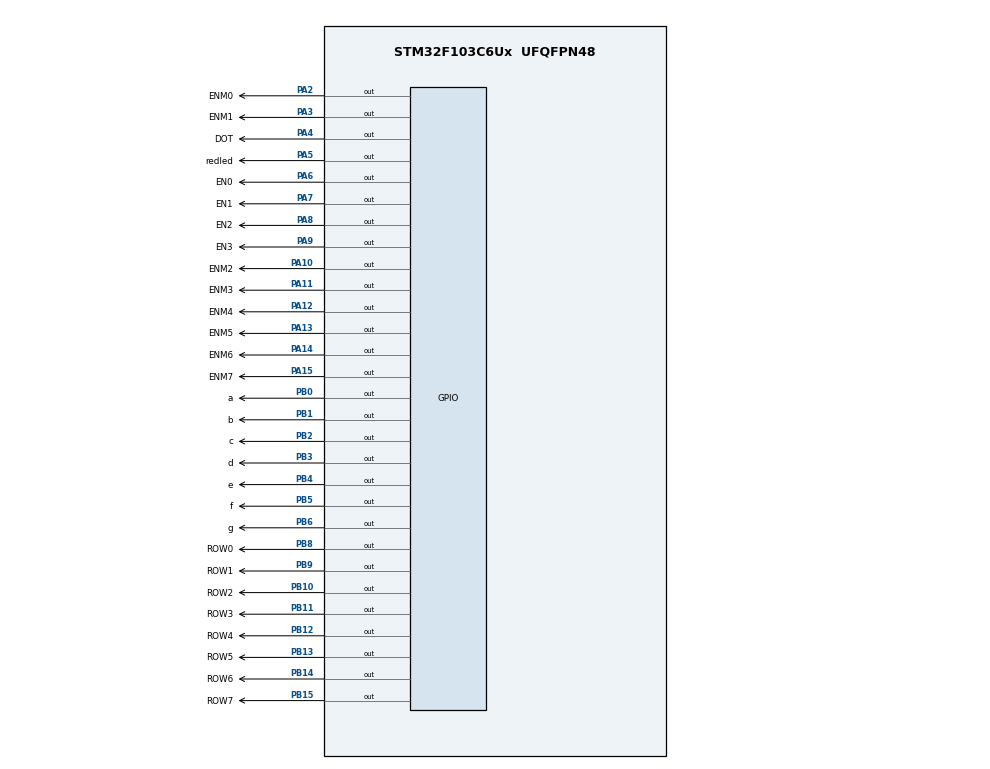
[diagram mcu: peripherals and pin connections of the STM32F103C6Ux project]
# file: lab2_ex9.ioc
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Mcu.Family=STM32F1
Mcu.Name=STM32F103C6Ux
Mcu.Package=UFQFPN48
NVIC.PriorityGroup=NVIC_PRIORITYGROUP_4
NVIC.TIM2_IRQn=true\:0\:0\:false\:false\:true\:true\:true
PA10.GPIO_Label=ENM2
PA10.Signal=GPIO_Output
PA11.GPIO_Label=ENM3
PA11.Signal=GPIO_Output
PA12.GPIO_Label=ENM4
PA12.Signal=GPIO_Output
PA13.GPIO_Label=ENM5
PA13.Signal=GPIO_Output
PA14.GPIO_Label=ENM6
PA14.Signal=GPIO_Output
PA15.GPIO_Label=ENM7
PA15.Signal=GPIO_Output
PA2.GPIO_Label=ENM0
PA2.Signal=GPIO_Output
PA3.GPIO_Label=ENM1
PA3.Signal=GPIO_Output
PA4.GPIO_Label=DOT
PA4.Signal=GPIO_Output
PA5.GPIO_Label=redled
PA5.Signal=GPIO_Output
PA6.GPIO_Label=EN0
PA6.Signal=GPIO_Output
PA7.GPIO_Label=EN1
PA7.Signal=GPIO_Output
PA8.GPIO_Label=EN2
PA8.Signal=GPIO_Output
PA9.GPIO_Label=EN3
PA9.Signal=GPIO_Output
PB0.GPIO_Label=a
PB0.Signal=GPIO_Output
PB1.GPIO_Label=b
PB1.Signal=GPIO_Output
PB10.GPIO_Label=ROW2
PB10.Signal=GPIO_Output
PB11.GPIO_Label=ROW3
PB11.Signal=GPIO_Output
PB12.GPIO_Label=ROW4
PB12.Signal=GPIO_Output
PB13.GPIO_Label=ROW5
PB13.Signal=GPIO_Output
PB14.GPIO_Label=ROW6
PB14.Signal=GPIO_Output
PB15.GPIO_Label=ROW7
PB15.Signal=GPIO_Output
PB2.GPIO_Label=c
PB2.Signal=GPIO_Output
PB3.GPIO_Label=d
PB3.Signal=GPIO_Output
PB4.GPIO_Label=e
PB4.Signal=GPIO_Output
PB5.GPIO_Label=f
PB5.Signal=GPIO_Output
PB6.GPIO_Label=g
PB6.Signal=GPIO_Output
PB8.GPIO_Label=ROW0
PB8.Signal=GPIO_Output
PB9.GPIO_Label=ROW1
PB9.Signal=GPIO_Output
ProjectManager.HeapSize=0x200
ProjectManager.StackSize=0x400
ProjectManager.TargetToolchain=STM32CubeIDE
RCC.APB1Freq_Value=8000000
RCC.APB2Freq_Value=8000000
TIM2.Period=9
TIM2.Prescaler=7999
VP_SYS_VS_ND.Mode=No_Debug
VP_TIM2_VS_ClockSourceINT.Mode=Internal
board=custom

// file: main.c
/* USER CODE BEGIN Header */
/**
  ******************************************************************************
  * @file           : main.c
  * @brief          : Main program body
  ******************************************************************************
  * @attention
  *
  * <h2><center>&copy; Copyright (c) 2025 STMicroelectronics.
  * All rights reserved.</center></h2>
  *
  * This software component is licensed by ST under BSD 3-Clause license,
  * the "License"; You may not use this file except in compliance with the
  * License. You may obtain a copy of the License at:
  *                        opensource.org/licenses/BSD-3-Clause
  *
  ******************************************************************************
  */
/* USER CODE END Header */
#include "main.h"

/* USER CODE BEGIN Includes */
#include "software_timer.h"
/* USER CODE END Includes */

TIM_HandleTypeDef htim2;

void SystemClock_Config(void);
static void MX_GPIO_Init(void);
static void MX_TIM2_Init(void);

/* USER CODE BEGIN 0 */
void display7SEG(int num) {
 	       switch (num) {
 	       case 0:
 	           HAL_GPIO_WritePin(a_GPIO_Port, a_Pin, GPIO_PIN_RESET);
 	           HAL_GPIO_WritePin(b_GPIO_Port, b_Pin, GPIO_PIN_RESET);
 	           HAL_GPIO_WritePin(c_GPIO_Port, c_Pin, GPIO_PIN_RESET);
 	           HAL_GPIO_WritePin(d_GPIO_Port, d_Pin, GPIO_PIN_RESET);
 	           HAL_GPIO_WritePin(e_GPIO_Port, e_Pin, GPIO_PIN_RESET);
 	           HAL_GPIO_WritePin(f_GPIO_Port, f_Pin, GPIO_PIN_RESET);
 	           HAL_GPIO_WritePin(g_GPIO_Port, g_Pin, GPIO_PIN_SET);
 	           break;
 	       case 1:
 	           HAL_GPIO_WritePin(a_GPIO_Port, a_Pin, GPIO_PIN_SET);
 	           HAL_GPIO_WritePin(b_GPIO_Port, b_Pin, GPIO_PIN_RESET);
 	           HAL_GPIO_WritePin(c_GPIO_Port, c_Pin, GPIO_PIN_RESET);
 	           HAL_GPIO_WritePin(d_GPIO_Port, d_Pin, GPIO_PIN_SET);
 	           HAL_GPIO_WritePin(e_GPIO_Port, e_Pin, GPIO_PIN_SET);
 	           HAL_GPIO_WritePin(f_GPIO_Port, f_Pin, GPIO_PIN_SET);
 	           HAL_GPIO_WritePin(g_GPIO_Port, g_Pin, GPIO_PIN_SET);
 	           break;
 	       case 2:
 	           HAL_GPIO_WritePin(a_GPIO_Port, a_Pin, GPIO_PIN_RESET);
 	           HAL_GPIO_WritePin(b_GPIO_Port, b_Pin, GPIO_PIN_RESET);
 	           HAL_GPIO_WritePin(c_GPIO_Port, c_Pin, GPIO_PIN_SET);
 	           HAL_GPIO_WritePin(d_GPIO_Port, d_Pin, GPIO_PIN_RESET);
 	           HAL_GPIO_WritePin(e_GPIO_Port, e_Pin, GPIO_PIN_RESET);
 	           HAL_GPIO_WritePin(f_GPIO_Port, f_Pin, GPIO_PIN_SET);
 	           HAL_GPIO_WritePin(g_GPIO_Port, g_Pin, GPIO_PIN_RESET);
 	           break;
 	       case 3:
 	           HAL_GPIO_WritePin(a_GPIO_Port, a_Pin, GPIO_PIN_RESET);
 	           HAL_GPIO_WritePin(b_GPIO_Port, b_Pin, GPIO_PIN_RESET);
 	           HAL_GPIO_WritePin(c_GPIO_Port, c_Pin, GPIO_PIN_RESET);
 	           HAL_GPIO_WritePin(d_GPIO_Port, d_Pin, GPIO_PIN_RESET);
 	           HAL_GPIO_WritePin(e_GPIO_Port, e_Pin, GPIO_PIN_SET);
 	           HAL_GPIO_WritePin(f_GPIO_Port, f_Pin, GPIO_PIN_SET);
 	           HAL_GPIO_WritePin(g_GPIO_Port, g_Pin, GPIO_PIN_RESET);
 	           break;
 	       case 4:
 	           HAL_GPIO_WritePin(a_GPIO_Port, a_Pin, GPIO_PIN_SET);
 	           HAL_GPIO_WritePin(b_GPIO_Port, b_Pin, GPIO_PIN_RESET);
 	           HAL_GPIO_WritePin(c_GPIO_Port, c_Pin, GPIO_PIN_RESET);
 	           HAL_GPIO_WritePin(d_GPIO_Port, d_Pin, GPIO_PIN_SET);
 	           HAL_GPIO_WritePin(e_GPIO_Port, e_Pin, GPIO_PIN_SET);
 	           HAL_GPIO_WritePin(f_GPIO_Port, f_Pin, GPIO_PIN_RESET);
 	           HAL_GPIO_WritePin(g_GPIO_Port, g_Pin, GPIO_PIN_RESET);
 	           break;
 	       case 5:
 	           HAL_GPIO_WritePin(a_GPIO_Port, a_Pin, GPIO_PIN_RESET);
 	           HAL_GPIO_WritePin(b_GPIO_Port, b_Pin, GPIO_PIN_SET);
 	           HAL_GPIO_WritePin(c_GPIO_Port, c_Pin, GPIO_PIN_RESET);
 	           HAL_GPIO_WritePin(d_GPIO_Port, d_Pin, GPIO_PIN_RESET);
 	           HAL_GPIO_WritePin(e_GPIO_Port, e_Pin, GPIO_PIN_SET);
 	           HAL_GPIO_WritePin(f_GPIO_Port, f_Pin, GPIO_PIN_RESET);
 	           HAL_GPIO_WritePin(g_GPIO_Port, g_Pin, GPIO_PIN_RESET);
 	           break;
 	       case 6:
 	           HAL_GPIO_WritePin(a_GPIO_Port, a_Pin, GPIO_PIN_RESET);
 	           HAL_GPIO_WritePin(b_GPIO_Port, b_Pin, GPIO_PIN_SET);
 	           HAL_GPIO_WritePin(c_GPIO_Port, c_Pin, GPIO_PIN_RESET);
 	           HAL_GPIO_WritePin(d_GPIO_Port, d_Pin, GPIO_PIN_RESET);
 	           HAL_GPIO_WritePin(e_GPIO_Port, e_Pin, GPIO_PIN_RESET);
 	           HAL_GPIO_WritePin(f_GPIO_Port, f_Pin, GPIO_PIN_RESET);
 	           HAL_GPIO_WritePin(g_GPIO_Port, g_Pin, GPIO_PIN_RESET);
 	           break;
 	       case 7:
 	           HAL_GPIO_WritePin(a_GPIO_Port, a_Pin, GPIO_PIN_RESET);
 	           HAL_GPIO_WritePin(b_GPIO_Port, b_Pin, GPIO_PIN_RESET);
 	           HAL_GPIO_WritePin(c_GPIO_Port, c_Pin, GPIO_PIN_RESET);
 	           HAL_GPIO_WritePin(d_GPIO_Port, d_Pin, GPIO_PIN_SET);
 	           HAL_GPIO_WritePin(e_GPIO_Port, e_Pin, GPIO_PIN_SET);
 	           HAL_GPIO_WritePin(f_GPIO_Port, f_Pin, GPIO_PIN_SET);
 	           HAL_GPIO_WritePin(g_GPIO_Port, g_Pin, GPIO_PIN_SET);
 	           break;
 	       case 8:
 	           HAL_GPIO_WritePin(a_GPIO_Port, a_Pin, GPIO_PIN_RESET);
 	           HAL_GPIO_WritePin(b_GPIO_Port, b_Pin, GPIO_PIN_RESET);
 	           HAL_GPIO_WritePin(c_GPIO_Port, c_Pin, GPIO_PIN_RESET);
 	           HAL_GPIO_WritePin(d_GPIO_Port, d_Pin, GPIO_PIN_RESET);
 	           HAL_GPIO_WritePin(e_GPIO_Port, e_Pin, GPIO_PIN_RESET);
 	           HAL_GPIO_WritePin(f_GPIO_Port, f_Pin, GPIO_PIN_RESET);
 	           HAL_GPIO_WritePin(g_GPIO_Port, g_Pin, GPIO_PIN_RESET);
 	           break;
 	       case 9:
 	           HAL_GPIO_WritePin(a_GPIO_Port, a_Pin, GPIO_PIN_RESET);
 	           HAL_GPIO_WritePin(b_GPIO_Port, b_Pin, GPIO_PIN_RESET);
 	           HAL_GPIO_WritePin(c_GPIO_Port, c_Pin, GPIO_PIN_RESET);
 	           HAL_GPIO_WritePin(d_GPIO_Port, d_Pin, GPIO_PIN_RESET);
 	           HAL_GPIO_WritePin(e_GPIO_Port, e_Pin, GPIO_PIN_SET);
 	           HAL_GPIO_WritePin(f_GPIO_Port, f_Pin, GPIO_PIN_RESET);
 	           HAL_GPIO_WritePin(g_GPIO_Port, g_Pin, GPIO_PIN_RESET);
 	           break;
 	       default:
 	           HAL_GPIO_WritePin(a_GPIO_Port, a_Pin, GPIO_PIN_SET);
 	           HAL_GPIO_WritePin(b_GPIO_Port, b_Pin, GPIO_PIN_SET);
 	           HAL_GPIO_WritePin(c_GPIO_Port, c_Pin, GPIO_PIN_SET);
 	           HAL_GPIO_WritePin(d_GPIO_Port, d_Pin, GPIO_PIN_SET);
 	           HAL_GPIO_WritePin(e_GPIO_Port, e_Pin, GPIO_PIN_SET);
 	           HAL_GPIO_WritePin(f_GPIO_Port, f_Pin, GPIO_PIN_SET);
 	           HAL_GPIO_WritePin(g_GPIO_Port, g_Pin, GPIO_PIN_SET);
 	           break;
 	       }
 	  }

 	  const int MAX_LED = 4;
 	     int index_led = 0;
 	     int led_buffer[4] = {1, 2, 3, 4};
 	  void update7SEG(int index) {
 	   HAL_GPIO_WritePin(EN0_GPIO_Port, EN0_Pin, GPIO_PIN_SET);
 	       HAL_GPIO_WritePin(EN1_GPIO_Port, EN1_Pin, GPIO_PIN_SET);
 	       HAL_GPIO_WritePin(EN2_GPIO_Port, EN2_Pin, GPIO_PIN_SET);
 	       HAL_GPIO_WritePin(EN3_GPIO_Port, EN3_Pin, GPIO_PIN_SET);
 	   switch (index) {
 	   case 0:
 	          HAL_GPIO_WritePin(EN0_GPIO_Port, EN0_Pin, GPIO_PIN_RESET);
 	          display7SEG(led_buffer[0]);
 	          break;
 	      case 1:
 	          HAL_GPIO_WritePin(EN1_GPIO_Port, EN1_Pin, GPIO_PIN_RESET);
 	          display7SEG(led_buffer[1]);
 	          break;
 	      case 2:
 	          HAL_GPIO_WritePin(EN2_GPIO_Port, EN2_Pin, GPIO_PIN_RESET);
 	          display7SEG(led_buffer[2]);
 	          break;
 	      case 3:
 	          HAL_GPIO_WritePin(EN3_GPIO_Port, EN3_Pin, GPIO_PIN_RESET);
 	          display7SEG(led_buffer[3]);
 	          break;
 	      default:
 	          break;
 	   }
 	  }

 	  void updateClockBuffer(int hour, int minute) {
 	    led_buffer[0] = hour / 10;
 	    led_buffer[1] = hour % 10;

 	    led_buffer[2] = minute / 10;
 	    led_buffer[3] = minute % 10;
 	  }

 	 uint8_t matrix_buffer[8] = {
 	     0x18,
 	     0x24,
 	     0x42,
 	     0x42,
 	     0x7E,
 	     0x42,
 	     0x42,
 	     0x00
 	 };
 	 const int MAX_LED_MATRIX = 8;
 	 int index_led_matrix = 0;

 	void updateLEDMatrix(int col){
 		HAL_GPIO_WritePin(GPIOA, ENM0_Pin, GPIO_PIN_SET);
 		HAL_GPIO_WritePin(GPIOA, ENM1_Pin, GPIO_PIN_SET);
 		HAL_GPIO_WritePin(GPIOA, ENM2_Pin, GPIO_PIN_SET);
 		HAL_GPIO_WritePin(GPIOA, ENM3_Pin, GPIO_PIN_SET);
 		HAL_GPIO_WritePin(GPIOA, ENM4_Pin, GPIO_PIN_SET);
 		HAL_GPIO_WritePin(GPIOA, ENM5_Pin, GPIO_PIN_SET);
 		HAL_GPIO_WritePin(GPIOA, ENM6_Pin, GPIO_PIN_SET);
 		HAL_GPIO_WritePin(GPIOA, ENM7_Pin, GPIO_PIN_SET);

    HAL_GPIO_WritePin(GPIOB, ROW0_Pin, (matrix_buffer[0] & (1 << col)) ? GPIO_PIN_RESET : GPIO_PIN_SET);
    HAL_GPIO_WritePin(GPIOB, ROW1_Pin, (matrix_buffer[1] & (1 << col)) ? GPIO_PIN_RESET : GPIO_PIN_SET);
    HAL_GPIO_WritePin(GPIOB, ROW2_Pin, (matrix_buffer[2] & (1 << col)) ? GPIO_PIN_RESET : GPIO_PIN_SET);
    HAL_GPIO_WritePin(GPIOB, ROW3_Pin, (matrix_buffer[3] & (1 << col)) ? GPIO_PIN_RESET : GPIO_PIN_SET);
    HAL_GPIO_WritePin(GPIOB, ROW4_Pin, (matrix_buffer[4] & (1 << col)) ? GPIO_PIN_RESET : GPIO_PIN_SET);
    HAL_GPIO_WritePin(GPIOB, ROW5_Pin, (matrix_buffer[5] & (1 << col)) ? GPIO_PIN_RESET : GPIO_PIN_SET);
    HAL_GPIO_WritePin(GPIOB, ROW6_Pin, (matrix_buffer[6] & (1 << col)) ? GPIO_PIN_RESET : GPIO_PIN_SET);
    HAL_GPIO_WritePin(GPIOB, ROW7_Pin, (matrix_buffer[7] & (1 << col)) ? GPIO_PIN_RESET : GPIO_PIN_SET);

    switch(col){
    case 0: HAL_GPIO_WritePin(GPIOA, ENM0_Pin, GPIO_PIN_RESET); break;
    case 1: HAL_GPIO_WritePin(GPIOA, ENM1_Pin, GPIO_PIN_RESET); break;
    case 2: HAL_GPIO_WritePin(GPIOA, ENM2_Pin, GPIO_PIN_RESET); break;
    case 3: HAL_GPIO_WritePin(GPIOA, ENM3_Pin, GPIO_PIN_RESET); break;
    case 4: HAL_GPIO_WritePin(GPIOA, ENM4_Pin, GPIO_PIN_RESET); break;
    case 5: HAL_GPIO_WritePin(GPIOA, ENM5_Pin, GPIO_PIN_RESET); break;
    case 6: HAL_GPIO_WritePin(GPIOA, ENM6_Pin, GPIO_PIN_RESET); break;
    case 7: HAL_GPIO_WritePin(GPIOA, ENM7_Pin, GPIO_PIN_RESET); break;
    }
}

 	void shiftLeftMatrix(void) {
 	    uint8_t t = matrix_buffer[0];
 	    int i = 0;
 	    while(  i < MAX_LED_MATRIX - 1) {
 	        matrix_buffer[i] = matrix_buffer[i + 1];
 	        i++;
 	    }
 	    matrix_buffer[MAX_LED_MATRIX - 1] = t;
 	}
/* USER CODE END 0 */

int main(void)
{

  /* MCU Configuration--------------------------------------------------------*/

  /* Reset of all peripherals, Initializes the Flash interface and the Systick. */
  HAL_Init();

  /* Configure the system clock */
  SystemClock_Config();

  /* Initialize all configured peripherals */
  MX_GPIO_Init();
  MX_TIM2_Init();
  /* USER CODE BEGIN 2 */
  HAL_TIM_Base_Start_IT (& htim2 );
  /* USER CODE END 2 */

  /* Infinite loop */
  /* USER CODE BEGIN WHILE */
  int hour = 15, minute = 8, second = 50;
   updateClockBuffer(hour, minute);
     setTimer1(100);
     setTimer2(25);
     setTimer3(100);
     setTimer4(2);
     setTimer5(100);

  while (1)
  {
    /* USER CODE END WHILE */
	  if ( timer1_flag == 1 ) {
	 		  	HAL_GPIO_TogglePin(redled_GPIO_Port, redled_Pin);
	 		  		HAL_GPIO_TogglePin(DOT_GPIO_Port, DOT_Pin);
	 		  		setTimer1(100);
	 		  }

	 		  if ( timer2_flag == 1) {
	 		  	update7SEG(index_led);
	 		  	index_led++;
	 		  	if (index_led >= MAX_LED) index_led = 0;
	 		  	setTimer2(25);
	 		  }

	 		  if ( timer3_flag == 1) {
	 			  second++;
	 			  if(second >= 60) {
	 			         second = 0;
	 			         minute++;
	 			     }
	 			     if(minute >= 60) {
	 			         minute = 0;
	 			         hour++;
	 			     }
	 			     if(hour >= 24) {
	 			         hour = 0;
	 			     }

	 			     updateClockBuffer(hour, minute);
	 			     setTimer3(100);
	 		  }

	 		  if (timer4_flag == 1) {
	 			 updateLEDMatrix(index_led_matrix);
	 			 index_led_matrix++;
	 			 if (index_led_matrix >= MAX_LED_MATRIX) index_led_matrix = 0;
	 			 setTimer4(2);
	 		  }

	 		  if ( timer5_flag == 1 ) {
	 			  timer5_flag = 0;
	 			  setTimer5(100);
	 			 shiftLeftMatrix();
	 		  }
  }
}

void SystemClock_Config(void)
{
  RCC_OscInitTypeDef RCC_OscInitStruct = {0};
  RCC_ClkInitTypeDef RCC_ClkInitStruct = {0};

  /** Initializes the RCC Oscillators according to the specified parameters
  * in the RCC_OscInitTypeDef structure.
  */
  RCC_OscInitStruct.OscillatorType = RCC_OSCILLATORTYPE_HSI;
  RCC_OscInitStruct.HSIState = RCC_HSI_ON;
  RCC_OscInitStruct.HSICalibrationValue = RCC_HSICALIBRATION_DEFAULT;
  RCC_OscInitStruct.PLL.PLLState = RCC_PLL_NONE;
  if (HAL_RCC_OscConfig(&RCC_OscInitStruct) != HAL_OK)
  {
    Error_Handler();
  }
  /** Initializes the CPU, AHB and APB buses clocks
  */
  RCC_ClkInitStruct.ClockType = RCC_CLOCKTYPE_HCLK|RCC_CLOCKTYPE_SYSCLK
                              |RCC_CLOCKTYPE_PCLK1|RCC_CLOCKTYPE_PCLK2;
  RCC_ClkInitStruct.SYSCLKSource = RCC_SYSCLKSOURCE_HSI;
  RCC_ClkInitStruct.AHBCLKDivider = RCC_SYSCLK_DIV1;
  RCC_ClkInitStruct.APB1CLKDivider = RCC_HCLK_DIV1;
  RCC_ClkInitStruct.APB2CLKDivider = RCC_HCLK_DIV1;

  if (HAL_RCC_ClockConfig(&RCC_ClkInitStruct, FLASH_LATENCY_0) != HAL_OK)
  {
    Error_Handler();
  }
}

static void MX_TIM2_Init(void)
{

  TIM_ClockConfigTypeDef sClockSourceConfig = {0};
  TIM_MasterConfigTypeDef sMasterConfig = {0};

  htim2.Instance = TIM2;
  htim2.Init.Prescaler = 7999;
  htim2.Init.CounterMode = TIM_COUNTERMODE_UP;
  htim2.Init.Period = 9;
  htim2.Init.ClockDivision = TIM_CLOCKDIVISION_DIV1;
  htim2.Init.AutoReloadPreload = TIM_AUTORELOAD_PRELOAD_DISABLE;
  if (HAL_TIM_Base_Init(&htim2) != HAL_OK)
  {
    Error_Handler();
  }
  sClockSourceConfig.ClockSource = TIM_CLOCKSOURCE_INTERNAL;
  if (HAL_TIM_ConfigClockSource(&htim2, &sClockSourceConfig) != HAL_OK)
  {
    Error_Handler();
  }
  sMasterConfig.MasterOutputTrigger = TIM_TRGO_RESET;
  sMasterConfig.MasterSlaveMode = TIM_MASTERSLAVEMODE_DISABLE;
  if (HAL_TIMEx_MasterConfigSynchronization(&htim2, &sMasterConfig) != HAL_OK)
  {
    Error_Handler();
  }

}

static void MX_GPIO_Init(void)
{
  GPIO_InitTypeDef GPIO_InitStruct = {0};

  /* GPIO Ports Clock Enable */
  __HAL_RCC_GPIOA_CLK_ENABLE();
  __HAL_RCC_GPIOB_CLK_ENABLE();

  /*Configure GPIO pin Output Level */
  HAL_GPIO_WritePin(GPIOA, ENM0_Pin|ENM1_Pin|DOT_Pin|redled_Pin
                          |EN0_Pin|EN1_Pin|EN2_Pin|EN3_Pin
                          |ENM2_Pin|ENM3_Pin|ENM4_Pin|ENM5_Pin
                          |ENM6_Pin|ENM7_Pin, GPIO_PIN_RESET);

  /*Configure GPIO pin Output Level */
  HAL_GPIO_WritePin(GPIOB, a_Pin|b_Pin|c_Pin|ROW2_Pin
                          |ROW3_Pin|ROW4_Pin|ROW5_Pin|ROW6_Pin
                          |ROW7_Pin|d_Pin|e_Pin|f_Pin
                          |g_Pin|ROW0_Pin|ROW1_Pin, GPIO_PIN_RESET);

  /*Configure GPIO pins : ENM0_Pin ENM1_Pin DOT_Pin redled_Pin
                           EN0_Pin EN1_Pin EN2_Pin EN3_Pin
                           ENM2_Pin ENM3_Pin ENM4_Pin ENM5_Pin
                           ENM6_Pin ENM7_Pin */
  GPIO_InitStruct.Pin = ENM0_Pin|ENM1_Pin|DOT_Pin|redled_Pin
                          |EN0_Pin|EN1_Pin|EN2_Pin|EN3_Pin
                          |ENM2_Pin|ENM3_Pin|ENM4_Pin|ENM5_Pin
                          |ENM6_Pin|ENM7_Pin;
  GPIO_InitStruct.Mode = GPIO_MODE_OUTPUT_PP;
  GPIO_InitStruct.Pull = GPIO_NOPULL;
  GPIO_InitStruct.Speed = GPIO_SPEED_FREQ_LOW;
  HAL_GPIO_Init(GPIOA, &GPIO_InitStruct);

  /*Configure GPIO pins : a_Pin b_Pin c_Pin ROW2_Pin
                           ROW3_Pin ROW4_Pin ROW5_Pin ROW6_Pin
                           ROW7_Pin d_Pin e_Pin f_Pin
                           g_Pin ROW0_Pin ROW1_Pin */
  GPIO_InitStruct.Pin = a_Pin|b_Pin|c_Pin|ROW2_Pin
                          |ROW3_Pin|ROW4_Pin|ROW5_Pin|ROW6_Pin
                          |ROW7_Pin|d_Pin|e_Pin|f_Pin
                          |g_Pin|ROW0_Pin|ROW1_Pin;
  GPIO_InitStruct.Mode = GPIO_MODE_OUTPUT_PP;
  GPIO_InitStruct.Pull = GPIO_NOPULL;
  GPIO_InitStruct.Speed = GPIO_SPEED_FREQ_LOW;
  HAL_GPIO_Init(GPIOB, &GPIO_InitStruct);

}

/* USER CODE BEGIN 4 */
void HAL_TIM_PeriodElapsedCallback(TIM_HandleTypeDef *htim) {
	timerRun();
}
/* USER CODE END 4 */

void Error_Handler(void)
{
  __disable_irq();
  while (1)
  {
  }
}

/************************ (C) COPYRIGHT STMicroelectronics *****END OF FILE****/
